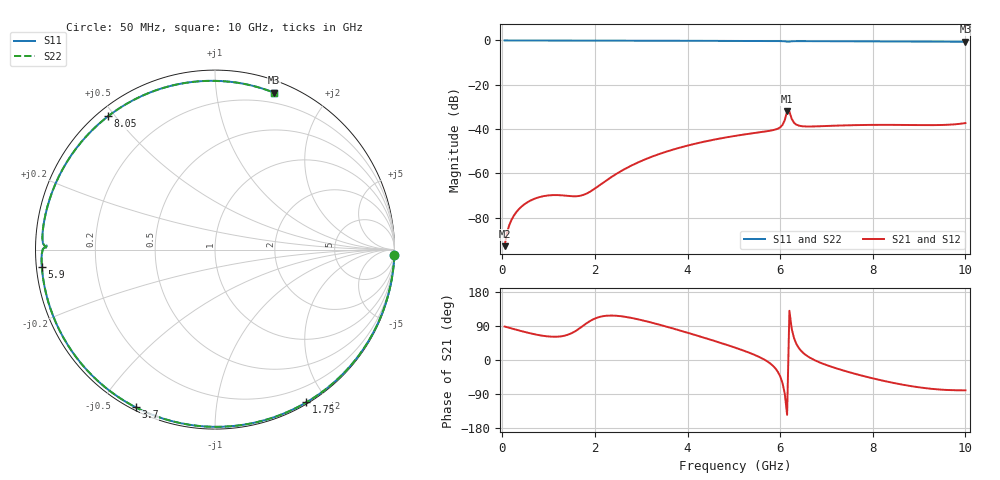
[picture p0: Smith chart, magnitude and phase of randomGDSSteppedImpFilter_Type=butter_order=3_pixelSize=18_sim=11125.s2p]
! freq	dB(S11)	phase(S11)	dB(S12)	phase(S12)
!  dB(S21)	phase(S21)	dB(S22)	phase(S22)
!S-par simulation data
#  GHz  S  DB  R 50
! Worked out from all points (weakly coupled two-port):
!   200 points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, 50 MHz to 10 GHz, reference 50 ohm
!   highest |S21| = -32.00 dB at 6.15 GHz (marker M1); lowest = -93.0 dB at 50 MHz (marker M2)
!   lowest |S11| = -0.6 dB at 10 GHz (marker M3), VSWR 29.30, Z = 5.25 + j72 ohm
!   |S11| at or under -10 dB: nowhere
!   |S22| runs from -0.6 to 0.0 dB; largest |S21 - S12| = 0
!   S11 on the Smith chart (normalised r, x): 50 MHz: 0, -65; 1.75 GHz: 0.02, -1.76; 3.7 GHz: 0.01, -0.62; 5.9 GHz: 0.02, -0.05; 8.05 GHz: 0.03, +0.48; 10 GHz: 0.11, +1.44
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0.05  -0.00 -1.8  -92.95 88.3  -92.95 88.3  -0.00 -1.8
0.2  -0.01 -7.0  -81.03 83.2  -81.03 83.2  -0.01 -7.0
0.5  -0.03 -17.4  -73.69 73.5  -73.69 73.5  -0.03 -17.4
0.8  -0.04 -27.7  -70.79 65.5  -70.79 65.5  -0.04 -27.6
1.75  -0.07 -59.1  -69.78 90.8  -69.78 90.8  -0.07 -59.1
2.55  -0.10 -83.9  -59.21 115.7  -59.21 115.7  -0.10 -83.9
3.4  -0.13 -108.5  -51.24 93.0  -51.24 93.0  -0.13 -108.4
3.7  -0.14 -116.8  -49.23 82.7  -49.23 82.7  -0.14 -116.7
5.05  -0.21 -152.4  -43.05 31.7  -43.05 31.7  -0.21 -152.4
5.9  -0.27 -174.4  -40.24 -22.5  -40.24 -22.5  -0.27 -174.4
6.05  -0.31 -178.6  -38.18 -60.3  -38.18 -60.3  -0.31 -178.6
6.1  -0.36 179.8  -35.97 -89.1  -35.97 -89.1  -0.36 179.9
6.15  -0.55 178.6  -32.00 -144.7  -32.00 -144.7  -0.55 178.6
6.2  -0.52 179.3  -32.16 130.0  -32.16 130.0  -0.52 179.4
6.25  -0.36 177.9  -35.45 82.0  -35.45 82.0  -0.36 178.0
6.35  -0.31 174.9  -38.04 42.5  -38.04 42.5  -0.31 174.9
6.7  -0.32 165.5  -38.86 2.3  -38.86 2.3  -0.32 165.5
7.35  -0.37 148.1  -38.40 -27.2  -38.40 -27.2  -0.37 148.1
8.05  -0.43 128.6  -38.14 -49.9  -38.14 -49.9  -0.43 128.7
8.35  -0.45 120.0  -38.13 -58.1  -38.13 -58.1  -0.45 120.1
9.2  -0.52 94.5  -38.26 -75.2  -38.26 -75.2  -0.52 94.6
10  -0.59 69.4  -37.32 -80.1  -37.32 -80.1  -0.59 69.5
